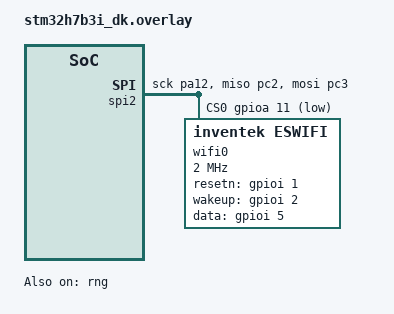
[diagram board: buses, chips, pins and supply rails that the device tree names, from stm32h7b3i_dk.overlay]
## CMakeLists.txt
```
cmake_minimum_required(VERSION 3.20.0)
find_package(Zephyr REQUIRED HINTS ${CMAKE_CURRENT_SOURCE_DIR}/../../zephyr_workspace/zephyr)
project(ridecast_onboard_wifi_ap LANGUAGES C)
target_sources(app PRIVATE src/main.c)
```

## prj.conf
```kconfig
# STM32H7B3I-DK LCD and Zephyr LVGL
CONFIG_DISPLAY=y
CONFIG_STM32_LTDC_RGB888=y
CONFIG_INPUT=y
CONFIG_LVGL=y
CONFIG_LV_Z_POINTER_FROM_CHOSEN_TOUCH=y
CONFIG_LV_Z_POINTER_INPUT=y
CONFIG_LV_Z_MEM_POOL_SIZE=16384
CONFIG_LV_USE_LABEL=y
CONFIG_LV_FONT_MONTSERRAT_14=y
CONFIG_MAIN_STACK_SIZE=4096

# Console
CONFIG_SERIAL=y
CONFIG_CONSOLE=y
CONFIG_UART_CONSOLE=y
CONFIG_PRINTK=y

# Networking
CONFIG_NETWORKING=y
CONFIG_WIFI=y
CONFIG_NET_L2_WIFI_MGMT=y
CONFIG_NET_IPV4=y
CONFIG_NET_TCP=y
CONFIG_NET_SOCKETS=y
CONFIG_NET_MGMT=y
CONFIG_NET_MGMT_EVENT=y
CONFIG_NET_MGMT_EVENT_INFO=y
CONFIG_NET_IPV6=n

# STM32 hardware random number generator
CONFIG_ENTROPY_GENERATOR=y
CONFIG_ENTROPY_DEVICE_RANDOM_GENERATOR=y

# Onboard Inventek Wi-Fi
CONFIG_SPI=y
CONFIG_WIFI_ESWIFI=y
CONFIG_WIFI_ESWIFI_BUS_SPI=y


# Logging
CONFIG_LOG=y
CONFIG_LOG_DEFAULT_LEVEL=3
CONFIG_LOG_MAX_LEVEL=3
CONFIG_LOG_BUFFER_SIZE=4096

# Wi-Fi logging
CONFIG_WIFI_LOG_LEVEL_INF=y
```

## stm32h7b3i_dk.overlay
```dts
#include <zephyr/dt-bindings/gpio/gpio.h>

/* STM32 hardware RNG */
&rng {
    status = "okay";
};

/*
 * Onboard Inventek Wi-Fi module.
 * SPI2 uses the board's Wi-Fi wiring,
 * not its default Arduino pin mapping.
 */
&spi2 {
    status = "okay";

    pinctrl-0 = <&spi2_sck_pa12
                 &spi2_miso_pc2
                 &spi2_mosi_pc3>;

    pinctrl-names = "default";

    cs-gpios = <&gpioa 11 GPIO_ACTIVE_LOW>;

    wifi0: wifi@0 {
        compatible = "inventek,eswifi";
        reg = <0>;

        spi-max-frequency = <2000000>;

        resetn-gpios = <&gpioi 1 GPIO_ACTIVE_HIGH>;
        wakeup-gpios = <&gpioi 2 GPIO_ACTIVE_HIGH>;
        data-gpios = <&gpioi 5 GPIO_ACTIVE_HIGH>;

        status = "okay";
    };
};

/* Avoid conflicts on PA11/PA12 */
&fdcan1 {
    status = "disabled";
};
```

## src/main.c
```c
/*
 * RideCast Phase 2C — STM32H7B3I-DK onboard Wi-Fi SoftAP / TCP echo / LCD.
 *
 * Important: The standard Zephyr 4.5 board devicetree does not define the
 * onboard Inventek ISM43340. This code intentionally reports that limitation
 * instead of falsely displaying an active AP. Bring up the Inventek driver
 * and its hardware overlay before testing with a phone.
 */
#include <errno.h>
#include <stdbool.h>
#include <stdint.h>
#include <string.h>

#include <zephyr/kernel.h>
#include <zephyr/device.h>
#include <zephyr/devicetree.h>
#include <zephyr/drivers/display.h>
#include <zephyr/drivers/gpio.h>
#include <zephyr/net/net_if.h>
#include <zephyr/net/net_ip.h>
#include <zephyr/net/net_mgmt.h>
#include <zephyr/net/socket.h>
#include <zephyr/net/wifi_mgmt.h>
#include <zephyr/sys/printk.h>
#include <lvgl.h>

#define DEMO_SSID         "RideCast-DK"
#define DEMO_PASSWORD     "RideCast1234" /* Demo-only WPA2 password */
#define DEMO_IP           "192.168.4.1"  /* Configured only if driver starts */
#define DEMO_PORT         4242
#define DEMO_TCP_STACK    4096
#define DEMO_TCP_PRIORITY 8

static lv_obj_t* status_label;
static lv_obj_t* count_label;
static lv_obj_t* message_label;
static struct net_mgmt_event_callback wifi_callback;

static struct
{
    char status[64];
    char last_message[64];
    uint32_t rx_bytes;
    uint32_t tx_bytes;
} demo_state = {
    .status       = "Starting...",
    .last_message = "No messages yet",
};

K_MUTEX_DEFINE(demo_lock);
K_SEM_DEFINE(ui_ready, 0, 1);

static void network_thread(void* arg1, void* arg2, void* arg3);
static void create_ui(void);
static void set_status(const char* status);
static void set_message(const char* message, size_t len);
static void add_traffic(size_t rx, size_t tx);
static void update_ui(void);
static void wifi_event_handler(struct net_mgmt_event_callback* cb,
                               uint64_t event,
                               struct net_if* iface);
static int start_soft_ap(struct net_if* iface);
static void tcp_echo_server(void);

static void wifi_diag_cb(struct net_if* iface, void* user_data);

K_THREAD_DEFINE(network_tid, DEMO_TCP_STACK, network_thread, NULL, NULL, NULL, DEMO_TCP_PRIORITY, 0, 0);

int main(void)
{
    const struct device* display = DEVICE_DT_GET(DT_CHOSEN(zephyr_display));
    int rc;

    printk("\nRideCast Phase 2C: onboard Wi-Fi AP demo\n");
    if(!device_is_ready(display))
    {
        printk("Display not ready\n");
        return 0;
    }

    create_ui();
    lv_timer_handler();
    rc = display_blanking_off(display);
    if(rc != 0 && rc != -ENOSYS)
    {
        printk("Cannot enable LCD: %d\n", rc);
        return 0;
    }
    k_sem_give(&ui_ready);

    /* Only the main thread calls LVGL APIs. */
    while(1)
    {
        update_ui();
        lv_timer_handler();
        k_sleep(K_MSEC(100));
    }
    return 0;
}

static void create_ui(void)
{
    lv_obj_t* screen = lv_screen_active();
    lv_obj_t* title  = lv_label_create(screen);
    lv_obj_t* wifi_info;
    lv_obj_t* hint           = lv_label_create(screen);
    lv_obj_t* settings_panel = lv_obj_create(screen);
    lv_obj_t* traffic_panel  = lv_obj_create(screen);

    lv_obj_set_scrollable(screen, false);
    lv_obj_set_style_bg_color(screen, lv_color_hex(0x0E1B2B), 0);
    lv_obj_set_style_text_color(screen, lv_color_hex(0xEFF5FF), 0);

    /* Two compact LCD cards: wireless settings and TCP message counters. */
    lv_obj_set_pos(settings_panel, 10, 69);
    lv_obj_set_size(settings_panel, 460, 94);
    lv_obj_set_scrollable(settings_panel, false);
    lv_obj_set_style_radius(settings_panel, 10, 0);
    lv_obj_set_style_border_width(settings_panel, 0, 0);
    lv_obj_set_style_bg_color(settings_panel, lv_color_hex(0x20354C), 0);
    lv_obj_set_style_pad_all(settings_panel, 8, 0);

    lv_obj_set_pos(traffic_panel, 10, 169);
    lv_obj_set_size(traffic_panel, 460, 75);
    lv_obj_set_scrollable(traffic_panel, false);
    lv_obj_set_style_radius(traffic_panel, 10, 0);
    lv_obj_set_style_border_width(traffic_panel, 0, 0);
    lv_obj_set_style_bg_color(traffic_panel, lv_color_hex(0x20354C), 0);
    lv_obj_set_style_pad_all(traffic_panel, 8, 0);

    lv_label_set_text(title, "RideCast | Wi-Fi AP Test");
    lv_obj_set_pos(title, 14, 12);
    lv_obj_set_style_text_color(title, lv_color_hex(0x8CC7FF), 0);

    status_label = lv_label_create(screen);
    lv_obj_set_pos(status_label, 14, 42);
    lv_label_set_text(status_label, "Status: Starting...");

    wifi_info = lv_label_create(settings_panel);
    lv_label_set_text_fmt(wifi_info, "SSID: %s\nPassword: %s\nIP (planned): %s    TCP: %d",
                          DEMO_SSID, DEMO_PASSWORD, DEMO_IP, DEMO_PORT);
    lv_obj_set_pos(wifi_info, 5, 4);
    lv_obj_set_style_text_color(wifi_info, lv_color_hex(0xD6E7FA), 0);

    count_label = lv_label_create(traffic_panel);
    lv_obj_set_pos(count_label, 5, 0);
    lv_label_set_text(count_label, "RX: 0 bytes    TX: 0 bytes");

    message_label = lv_label_create(traffic_panel);
    lv_obj_set_pos(message_label, 5, 29);
    lv_obj_set_size(message_label, 430, 24);
    lv_label_set_text(message_label, "Last RX: -");

    lv_label_set_text(hint, "Android: Serial WiFi Terminal -> RAW TCP");
    lv_obj_set_pos(hint, 14, 251);
    lv_obj_set_style_text_color(hint, lv_color_hex(0x8CA7C6), 0);
}

static void set_status(const char* status)
{
    k_mutex_lock(&demo_lock, K_FOREVER);
    strncpy(demo_state.status, status, sizeof(demo_state.status) - 1);
    demo_state.status[sizeof(demo_state.status) - 1] = '\0';
    k_mutex_unlock(&demo_lock);
    printk("Wi-Fi: %s\n", status);
}

static void set_message(const char* message, size_t len)
{
    size_t count = MIN(len, sizeof(demo_state.last_message) - 1);

    k_mutex_lock(&demo_lock, K_FOREVER);
    memcpy(demo_state.last_message, message, count);
    demo_state.last_message[count] = '\0';
    k_mutex_unlock(&demo_lock);
}

static void add_traffic(size_t rx, size_t tx)
{
    k_mutex_lock(&demo_lock, K_FOREVER);
    demo_state.rx_bytes += rx;
    demo_state.tx_bytes += tx;
    k_mutex_unlock(&demo_lock);
}

static void update_ui(void)
{
    char status[64];
    char last_message[64];
    uint32_t rx, tx;

    k_mutex_lock(&demo_lock, K_FOREVER);
    strcpy(status, demo_state.status);
    strcpy(last_message, demo_state.last_message);
    rx = demo_state.rx_bytes;
    tx = demo_state.tx_bytes;
    k_mutex_unlock(&demo_lock);

    lv_label_set_text_fmt(status_label, "Status: %s", status);
    lv_label_set_text_fmt(count_label, "RX: %u bytes    TX: %u bytes",
                          (unsigned)rx, (unsigned)tx);
    lv_label_set_text_fmt(message_label, "Last RX: %s", last_message);
}

static void
wifi_event_handler(struct net_mgmt_event_callback* cb, uint64_t event, struct net_if* iface)
{
    ARG_UNUSED(cb);
    ARG_UNUSED(iface);
    if(event == NET_EVENT_WIFI_AP_STA_CONNECTED)
    {
        set_status("Phone joined AP");
    }
    else if(event == NET_EVENT_WIFI_AP_STA_DISCONNECTED)
    {
        set_status("Phone left AP");
    }
}

static int start_soft_ap(struct net_if* iface)
{
    struct net_in_addr ap_addr, netmask;
    static struct wifi_connect_req_params params = {
        .ssid        = (const uint8_t*)DEMO_SSID,
        .ssid_length = sizeof(DEMO_SSID) - 1,
        .psk         = (const uint8_t*)DEMO_PASSWORD,
        .psk_length  = sizeof(DEMO_PASSWORD) - 1,
        .security    = WIFI_SECURITY_TYPE_PSK,
        .band        = WIFI_FREQ_BAND_2_4_GHZ,
        .channel     = 6,
    };
    int rc;

    if(net_addr_pton(AF_INET, DEMO_IP, &ap_addr) != 0 ||
       net_addr_pton(AF_INET, "255.255.255.0", &netmask) != 0)
    {
        return -EINVAL;
    }
    if(net_if_ipv4_addr_add(iface, &ap_addr, NET_ADDR_MANUAL, 0) == NULL)
    {
        return -EADDRNOTAVAIL;
    }
    (void)net_if_ipv4_set_netmask_by_addr(iface, &ap_addr, &netmask);

    /* Inventek eS-WiFi firmware has its own IP/socket handling. Do not start
     * a second DHCP server without checking the specific module firmware. */
    rc = net_mgmt(NET_REQUEST_WIFI_AP_ENABLE, iface, &params, sizeof(params));
    return rc;
}

static void network_thread(void* arg1, void* arg2, void* arg3)
{
    struct net_if* wifi_iface;
    int rc;

    ARG_UNUSED(arg1);
    ARG_UNUSED(arg2);
    ARG_UNUSED(arg3);
    k_sem_take(&ui_ready, K_FOREVER);
    k_sleep(K_MSEC(1000));


    const struct device* wifi_dev = DEVICE_DT_GET(DT_NODELABEL(wifi0));

    printk("Wi-Fi device: %s\n", wifi_dev->name);
    printk("Wi-Fi device ready: %d\n", device_is_ready(wifi_dev));

    printk("Registered network interfaces:\n");
    net_if_foreach(wifi_diag_cb, NULL);


    const struct gpio_dt_spec wifi_reset =
    GPIO_DT_SPEC_GET(DT_NODELABEL(wifi0), resetn_gpios);

    const struct gpio_dt_spec wifi_wakeup =
    GPIO_DT_SPEC_GET(DT_NODELABEL(wifi0), wakeup_gpios);

    const struct gpio_dt_spec wifi_data_ready =
    GPIO_DT_SPEC_GET(DT_NODELABEL(wifi0), data_gpios);

    printk("Wi-Fi GPIO levels:\n");

    printk("  RESET PI1 = %d\n", gpio_pin_get_raw(wifi_reset.port, wifi_reset.pin));

    printk("  WAKE  PI2 = %d\n", gpio_pin_get_raw(wifi_wakeup.port, wifi_wakeup.pin));

    printk("  READY PI5 = %d\n",
           gpio_pin_get_raw(wifi_data_ready.port, wifi_data_ready.pin));


    wifi_iface = net_if_get_first_wifi();
    if(wifi_iface == NULL)
    {
        set_status("No onboard Wi-Fi driver");
        printk("Board Wi-Fi DT/driver not configured; see README.md\n");
        return;
    }

    net_mgmt_init_event_callback(&wifi_callback, wifi_event_handler,
                                 NET_EVENT_WIFI_AP_STA_CONNECTED |
                                 NET_EVENT_WIFI_AP_STA_DISCONNECTED);
    net_mgmt_add_event_callback(&wifi_callback);

    rc = start_soft_ap(wifi_iface);
    if(rc != 0)
    {
        set_status("AP start failed (see UART)");
        printk("AP start returned: %d\n", rc);
        return;
    }
    set_status("AP ready - join from phone");
    tcp_echo_server();
}

static void tcp_echo_server(void)
{
    struct sockaddr_in bind_addr = { 0 };
    int listener;

    listener = zsock_socket(AF_INET, SOCK_STREAM, IPPROTO_TCP);
    if(listener < 0)
    {
        set_status("TCP socket failed");
        return;
    }
    bind_addr.sin_family      = AF_INET;
    bind_addr.sin_port        = htons(DEMO_PORT);
    bind_addr.sin_addr.s_addr = htonl(INADDR_ANY);
    if(zsock_bind(listener, (struct sockaddr*)&bind_addr, sizeof(bind_addr)) < 0 ||
       zsock_listen(listener, 1) < 0)
    {
        set_status("TCP listen failed");
        zsock_close(listener);
        return;
    }

    for(;;)
    {
        int client;
        char buffer[128];
        struct sockaddr_in peer;
        socklen_t peer_len = sizeof(peer);

        set_status("AP ready / TCP listening");
        client = zsock_accept(listener, (struct sockaddr*)&peer, &peer_len);
        if(client < 0)
        {
            k_sleep(K_MSEC(300));
            continue;
        }
        set_status("Phone TCP connected");
        for(;;)
        {
            ssize_t received = zsock_recv(client, buffer, sizeof(buffer) - 1, 0);
            if(received <= 0)
            {
                break;
            }
            buffer[received] = '\0';
            set_message(buffer, (size_t)received);
            add_traffic((size_t)received, 0);
            printk("TCP RX: %s\n", buffer);

            /* Echo exactly the received text back to the phone. */
            size_t sent_total = 0;
            while(sent_total < (size_t)received)
            {
                ssize_t sent = zsock_send(client, buffer + sent_total,
                                          (size_t)received - sent_total, 0);
                if(sent <= 0)
                {
                    break;
                }
                sent_total += (size_t)sent;
                add_traffic(0, (size_t)sent);
            }
            if(sent_total < (size_t)received)
            {
                break;
            }
        }
        zsock_close(client);
        set_status("TCP disconnected / AP active");
    }
}


static void wifi_diag_cb(struct net_if* iface, void* user_data)
{
    const struct device* dev = net_if_get_device(iface);

    ARG_UNUSED(user_data);

    printk("IF index=%d, device=%s, ready=%d, wifi=%d, offloaded=%d\n",
           net_if_get_by_iface(iface), dev ? dev->name : "NULL",
           device_is_ready(dev), net_if_is_wifi(iface), net_if_is_offloaded(iface));
}
```
